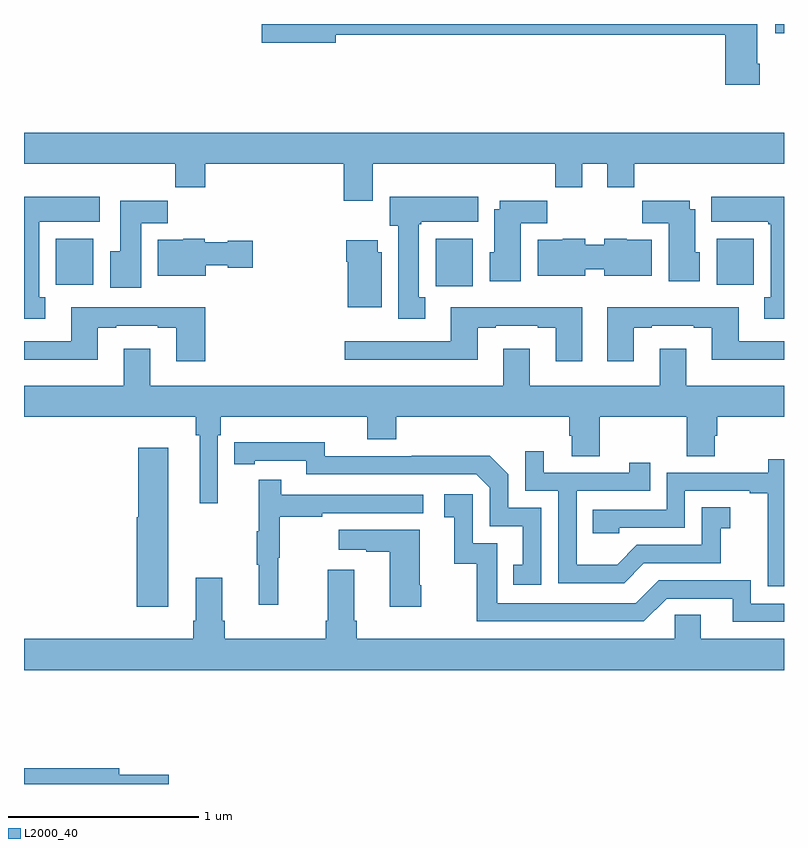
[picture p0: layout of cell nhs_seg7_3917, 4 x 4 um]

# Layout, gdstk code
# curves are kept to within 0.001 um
import gdstk
lib = gdstk.Library(unit=1e-6, precision=1e-09)
def R(c, l, rs):  # rectangles x0, y0, x1, y1
    for r in rs: c.add(gdstk.rectangle(r[:2], r[2:], *l))
def P(c, l, *ps):  # polygons
    for p in ps: c.add(gdstk.Polygon(p, *l))
L2000_40 = (2000, 40)

nhs_seg7_3917 = lib.new_cell('nhs_seg7_3917')
R(nhs_seg7_3917, L2000_40, [(361.167,1018.62,361.363,1018.87), (359.168,1018.628,359.365,1018.87), (362.645,1018.628,362.842,1018.87), (362.955,1019.952,363,1020)])
P(nhs_seg7_3917, L2000_40, [(362.873,1019.791),(362.86,1019.791),(362.86,1020),(360.252,1020),(360.252,1019.902),(360.64,1019.902),(360.64,1019.944),(362.69,1019.944),(362.69,1019.679),(362.873,1019.679)],
  [(360.835,1019.264),(361.795,1019.264),(361.795,1019.14),(361.939,1019.14),(361.939,1019.264),(362.069,1019.264),(362.069,1019.14),(362.213,1019.14),(362.213,1019.264),(363,1019.264),(363,1019.428),(359,1019.428),(359,1019.264),(359.797,1019.264),(359.797,1019.14),(359.954,1019.14),(359.954,1019.264),(360.683,1019.264),(360.683,1019.07),(360.835,1019.07)],
  [(363,1019.092),(362.618,1019.092),(362.618,1018.958),(362.917,1018.958),(362.917,1018.945),(362.93,1018.945),(362.93,1018.562),(362.897,1018.562),(362.897,1018.449),(363,1018.449)],
  [(359.113,1018.562),(359.08,1018.562),(359.08,1018.958),(359.398,1018.958),(359.398,1019.092),(359,1019.092),(359,1018.449),(359.113,1018.449)],
  [(361.111,1018.561),(361.078,1018.561),(361.078,1018.945),(361.092,1018.945),(361.092,1018.958),(361.39,1018.958),(361.39,1019.092),(360.926,1019.092),(360.926,1018.938),(360.971,1018.938),(360.971,1018.449),(361.111,1018.449)],
  [(361.615,1018.952),(361.754,1018.952),(361.754,1019.071),(361.505,1019.071),(361.505,1019.026),(361.475,1019.026),(361.475,1018.8),(361.451,1018.8),(361.451,1018.646),(361.615,1018.646)],
  [(359.617,1018.952),(359.756,1018.952),(359.756,1019.071),(359.507,1019.071),(359.507,1018.804),(359.453,1018.804),(359.453,1018.611),(359.617,1018.611)],
  [(362.557,1018.8),(362.533,1018.8),(362.533,1019.026),(362.503,1019.026),(362.503,1019.071),(362.254,1019.071),(362.254,1018.952),(362.393,1018.952),(362.393,1018.646),(362.557,1018.646)],
  [(359.956,1018.73),(360.072,1018.73),(360.072,1018.718),(360.205,1018.718),(360.205,1018.86),(360.072,1018.86),(360.072,1018.852),(359.952,1018.852),(359.952,1018.87),(359.838,1018.87),(359.838,1018.864),(359.705,1018.864),(359.705,1018.676),(359.956,1018.676)],
  [(361.954,1018.709),(362.054,1018.709),(362.054,1018.676),(362.305,1018.676),(362.305,1018.864),(362.172,1018.864),(362.172,1018.87),(362.054,1018.87),(362.054,1018.839),(361.954,1018.839),(361.954,1018.87),(361.836,1018.87),(361.836,1018.864),(361.703,1018.864),(361.703,1018.676),(361.954,1018.676)],
  [(360.883,1018.8),(360.862,1018.8),(360.862,1018.861),(360.697,1018.861),(360.697,1018.748),(360.704,1018.748),(360.704,1018.508),(360.883,1018.508)],
  [(362.209,1018.401),(362.305,1018.401),(362.305,1018.413),(362.525,1018.413),(362.525,1018.401),(362.621,1018.401),(362.621,1018.232),(363,1018.232),(363,1018.329),(362.761,1018.329),(362.761,1018.51),(362.069,1018.51),(362.069,1018.224),(362.209,1018.224)],
  [(361.939,1018.51),(361.247,1018.51),(361.247,1018.329),(360.687,1018.329),(360.687,1018.232),(361.387,1018.232),(361.387,1018.401),(361.483,1018.401),(361.483,1018.413),(361.703,1018.413),(361.703,1018.401),(361.799,1018.401),(361.799,1018.224),(361.939,1018.224)],
  [(359.954,1018.51),(359.713,1018.51),(359.713,1018.509),(359.249,1018.509),(359.249,1018.329),(359,1018.329),(359,1018.232),(359.389,1018.232),(359.389,1018.401),(359.485,1018.401),(359.485,1018.413),(359.705,1018.413),(359.705,1018.401),(359.801,1018.401),(359.801,1018.224),(359.954,1018.224)],
  [(359.525,1018.291),(359.525,1018.096),(359,1018.096),(359,1017.932),(359.905,1017.932),(359.905,1017.836),(359.924,1017.836),(359.924,1017.477),(360.021,1017.477),(360.021,1017.836),(360.035,1017.836),(360.035,1017.932),(360.806,1017.932),(360.806,1017.815),(360.959,1017.815),(360.959,1017.932),(361.871,1017.932),(361.871,1017.834),(361.883,1017.834),(361.883,1017.724),(362.031,1017.724),(362.031,1017.932),(362.488,1017.932),(362.488,1017.724),(362.635,1017.724),(362.635,1017.834),(362.648,1017.834),(362.648,1017.932),(363,1017.932),(363,1018.096),(362.485,1018.096),(362.485,1018.291),(362.345,1018.291),(362.345,1018.096),(361.663,1018.096),(361.663,1018.291),(361.523,1018.291),(361.523,1018.096),(359.665,1018.096),(359.665,1018.291)],
  [(361.722,1017.453),(361.548,1017.453),(361.548,1017.63),(361.45,1017.728),(361.042,1017.728),(361.042,1017.726),(360.582,1017.726),(360.582,1017.799),(360.106,1017.798),(360.106,1017.682),(360.214,1017.682),(360.214,1017.702),(360.486,1017.702),(360.486,1017.63),(361.38,1017.63),(361.452,1017.558),(361.452,1017.357),(361.625,1017.357),(361.625,1017.153),(361.576,1017.153),(361.576,1017.048),(361.722,1017.048)],
  [(359.758,1017.769),(359.6,1017.769),(359.6,1017.405),(359.594,1017.405),(359.594,1016.934),(359.758,1016.934)],
  [(362.263,1017.162),(362.667,1017.162),(362.667,1017.347),(362.716,1017.347),(362.716,1017.457),(362.568,1017.457),(362.568,1017.258),(362.226,1017.258),(362.122,1017.154),(361.908,1017.154),(361.908,1017.543),(362.297,1017.543),(362.297,1017.691),(362.186,1017.691),(362.186,1017.639),(361.735,1017.639),(361.735,1017.751),(361.638,1017.751),(361.638,1017.543),(361.812,1017.543),(361.812,1017.057),(362.158,1017.057)],
  [(363,1017.708),(362.916,1017.708),(362.916,1017.639),(362.382,1017.639),(362.382,1017.444),(361.993,1017.444),(361.993,1017.321),(362.133,1017.321),(362.133,1017.348),(362.478,1017.348),(362.478,1017.543),(362.819,1017.543),(362.819,1017.531),(362.915,1017.531),(362.915,1017.247),(362.914,1017.247),(362.914,1017.041),(363,1017.041)],
  [(360.338,1017.192),(360.346,1017.192),(360.346,1017.406),(360.569,1017.406),(360.569,1017.426),(361.102,1017.426),(361.102,1017.522),(360.353,1017.522),(360.353,1017.601),(360.236,1017.601),(360.236,1017.329),(360.225,1017.329),(360.225,1017.155),(360.236,1017.155),(360.236,1016.943),(360.338,1016.943)],
  [(363,1016.949),(362.826,1016.949),(362.826,1017.072),(362.34,1017.072),(362.22,1016.952),(361.491,1016.952),(361.491,1017.267),(361.362,1017.267),(361.362,1017.526),(361.212,1017.526),(361.212,1017.405),(361.265,1017.405),(361.265,1017.159),(361.383,1017.159),(361.383,1016.856),(362.262,1016.856),(362.382,1016.976),(362.729,1016.976),(362.729,1016.853),(363,1016.853)],
  [(361.092,1017.046),(361.084,1017.046),(361.084,1017.337),(360.657,1017.337),(360.657,1017.233),(360.8,1017.233),(360.8,1017.223),(360.926,1017.223),(360.926,1016.934),(361.092,1016.934)],
  [(363,1016.764),(362.563,1016.764),(362.563,1016.891),(362.424,1016.891),(362.424,1016.764),(360.752,1016.764),(360.752,1016.86),(360.739,1016.86),(360.739,1017.127),(360.599,1017.127),(360.599,1016.86),(360.587,1016.86),(360.587,1016.764),(360.056,1016.764),(360.056,1016.86),(360.043,1016.86),(360.043,1017.085),(359.903,1017.085),(359.903,1016.86),(359.891,1016.86),(359.891,1016.764),(359,1016.764),(359,1016.6),(363,1016.6)],
  [(359.761,1016.048),(359.5,1016.048),(359.5,1016.084),(359,1016.084),(359,1016),(359.761,1016)])

lib.write_gds('nhs_seg7_3917.gds')
